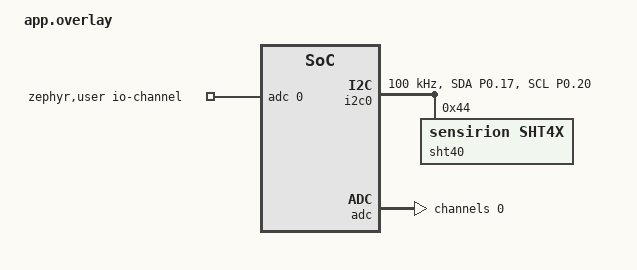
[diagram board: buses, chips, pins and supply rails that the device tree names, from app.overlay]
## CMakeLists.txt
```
cmake_minimum_required(VERSION 3.20.0)

# Tell Zephyr to search for boards in this directory (finds boards/nice_nano)
set(BOARD_ROOT ${CMAKE_CURRENT_SOURCE_DIR})

# Static partition map — tells PM where bootloader/NVRAM/settings live so
# ZBOSS NVRAM is NOT placed inside the Adafruit bootloader region (0xf4000+).
set(PM_STATIC_YML_FILE ${CMAKE_CURRENT_SOURCE_DIR}/pm_static.yml)

find_package(Zephyr REQUIRED HINTS $ENV{ZEPHYR_BASE})
project(nano_temp VERSION 0.1.0)

# Define ZB_ROUTER_ROLE and ZB_BDB_MODE preprocessor macros when CONFIG_ZIGBEE_ROLE_ROUTER=y
# Both are required for ZBOSS to compile router-specific code paths
# ZB_BDB_MODE enables BDB (Base Device Behavior) commissioning mode
if(CONFIG_ZIGBEE_ROLE_ROUTER)
  target_compile_definitions(app PRIVATE ZB_ROUTER_ROLE ZB_BDB_MODE)
endif()

target_sources(app PRIVATE src/main.c)
target_include_directories(app PRIVATE ${CMAKE_CURRENT_SOURCE_DIR})
```

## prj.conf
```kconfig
# ── Zigbee Role Configuration ────────────────────────────────
# Makefile toggles between END_DEVICE (sleepy) and ROUTER (always-on)
# - debug/prod modes: END_DEVICE with sleepy behavior
# - hub mode: ROUTER (repeater, always powered, no sleep)
CONFIG_ZIGBEE=y
CONFIG_ZIGBEE_ROLE_END_DEVICE=y
# CONFIG_ZIGBEE_ROLE_ROUTER=y
# Scan all Zigbee channels so we find the coordinator regardless of
# which channel ZHA is configured on (11-26).
CONFIG_ZIGBEE_CHANNEL_SELECTION_MODE_MULTI=y
CONFIG_ZIGBEE_CHANNEL_MASK=0x07FFF800
# Sleepy behavior (rx-off-when-idle) configured via API for end devices:
#   zigbee_configure_sleepy_behavior(true)  — called before zigbee_enable()
# Long poll interval configured via API after join:
#   zb_zdo_pim_set_long_poll_interval(POLL_INTERVAL_MS)

# Zigbee application utilities (needed for zigbee_configure_sleepy_behavior)
CONFIG_ZIGBEE_APP_UTILS=y
# ZIGBEE_FACTORY_RESET (default y) implies DK_LIBRARY, which tries to init
# Nordic DK LEDs/buttons via GPIO nodes that don't exist on nice!nano → panic.
# Override the imply with an explicit n.
CONFIG_DK_LIBRARY=n
# ZIGBEE_HAVE_SERIAL must stay y — the prebuilt libzboss.a has an unconditional
# hard reference to zb_osif_serial_init which lives in the serial shim.

# ── Logging (USB CDC configured by board defconfig) ──────────
# USB and logging are toggled by Makefile based on DEBUG mode:
#   DEBUG=y  → USB/LOG =y (development, ~3mA on USB)
#   DEBUG=n  → USB/LOG =n (battery production, <1mA)
# Makefile uses sed to toggle between =y and =n to override board defconfig.
CONFIG_USB_DEVICE_STACK=y
CONFIG_LOG=y
CONFIG_LOG_DEFAULT_LEVEL=3
# Use deferred mode to prevent blocking when USB suspends during sleep
CONFIG_LOG_MODE_DEFERRED=y
CONFIG_LOG_BUFFER_SIZE=4096
CONFIG_USB_CDC_ACM_LOG_LEVEL_INF=y
# Disable runtime PM for USB to prevent suspend during sleep
CONFIG_USB_DEVICE_REMOTE_WAKEUP=n
CONFIG_USB_DEVICE_BOS=n
# Enable Zigbee logging to see join status
CONFIG_ZIGBEE_LOGGER_EP_LOG_LEVEL_INF=y
CONFIG_ZIGBEE_APP_UTILS_LOG_LEVEL_INF=y
# ZBOSS trace logging off (saves flash/RAM); ZBOSS assert → reset
CONFIG_ZBOSS_TRACE_LOG_LEVEL_OFF=y
CONFIG_ZBOSS_RESET_ON_ASSERT=y

# ── Crypto — Zigbee AES via nRF52840 hardware ECB peripheral ─
# ECB is a simple register-mapped peripheral — no CC310, no Oberon.
# (DK_LIBRARY=n below removes the DK init crash that originally
#  made us think ECB was the problem.)
CONFIG_CRYPTO=y
CONFIG_CRYPTO_NRF_ECB=y
CONFIG_CRYPTO_INIT_PRIORITY=80

# ── I2C + SHT40 sensor driver ────────────────────────────────
CONFIG_I2C=y
CONFIG_SENSOR=y
CONFIG_SHT4X=y

# ── ADC — VDD battery voltage via SAADC ──────────────────────
CONFIG_ADC=y
CONFIG_ADC_NRFX_SAADC=y

# ── GPIO — VCC / GND power gate for sensor ───────────────────
CONFIG_GPIO=y

# ── Flash / NVS / Settings — Zigbee NVRAM persistence ────────
CONFIG_FLASH=y
CONFIG_FLASH_PAGE_LAYOUT=y
CONFIG_FLASH_MAP=y
CONFIG_NVS=y
CONFIG_SETTINGS=y

# ── Networking — disable IPv6/UDP (Zigbee doesn't use them) ──────────
# CONFIG_ZIGBEE selects NETWORKING, which enables IPv6 by default.
# IPv6 Neighbor Discovery / DAD cooperative threads try to transmit
# over the radio immediately on interface-up, crashing before ZBOSS
# is ready.  The official nRF Connect SDK Zigbee samples all set these.
CONFIG_NET_IPV6=n
CONFIG_NET_IP_ADDR_CHECK=n
CONFIG_NET_UDP=n

# ── 802.15.4 temperature update — disable to avoid assert panic ──
# temperature_update_init (POST_KERNEL 91) calls __ASSERT_NO_MSG(device_is_ready(temp)).
# The nRF5 die temp sensor (temp_nrf5_mpsl_init, priority 90) returns an error,
# leaving the device not-ready, which triggers the assert and panics.
# Disabling this uses a fixed 20°C for radio crystal calibration — fine for a
# Zigbee sensor node that doesn't need perfect RF temperature compensation.
CONFIG_NRF_802154_TEMPERATURE_UPDATE=n

# ── Init priority ordering ────────────────────────────────────────────
#
# Root cause: CONFIG_NET_INIT_PRIO is not user-settable (derives from
# APPLICATION_INIT_PRIORITY=90).  net_core_init at priority 90 creates
# Zephyr network management threads that try to bring up the ieee802154
# interface.  If nrf5_init hasn't run yet the driver is uninitialized
# → hard fault in the NET cooperative thread.
#
# Fix: move nrf5_init to priority 89, one slot before the priority-90
# batch.  The ieee802154 device is fully ready before net_core_init runs.
#
# Final order:
#   89  nrf5_init (IEEE 802.15.4 driver, ready before net_core_init)
#   90  usb_device_init, net_core_init, sensor inits
#   99  nrf_802154_configurator
#
# BUILD_ASSERT in nrf_802154_configurator requires:
#   IEEE802154_NRF5_INIT_PRIO < NRF_802154_RADIO_CONFIG_PRIO (89 < 99 ✓)
CONFIG_IEEE802154_NRF5_INIT_PRIO=89
CONFIG_NRF_802154_RADIO_CONFIG_PRIO=99

# ── Watchdog — survive Adafruit bootloader WDT ───────────────
# The Adafruit UF2 bootloader starts a 1-second hardware WDT before
# jumping to the app.  nRF WDT cannot be stopped once started, so the
# app must feed it.  CONFIG_WDT_NRFX=y gives us nrfx_wdt so we can
# allocate the existing channel and keep feeding it in the app.
# wdt_feed_all() in main.c feeds all active channels via the nRF HAL.
CONFIG_WATCHDOG=y
CONFIG_WDT_NRFX=y

# ── RAM power-down — unused SRAM banks off during sleep ──────────────
# Powers down idle RAM banks to cut sleep current.
# NOTE: power_down_unused_ram() must be called explicitly from main.c
# before zigbee_enable().  This library does NOT auto-call it unless
# CONFIG_RAM_POWER_ADJUST_ON_HEAP_RESIZE=y, which requires newlib.
CONFIG_RAM_POWER_DOWN_LIBRARY=y

# ── Power management ─────────────────────────────────────────────────
# CONFIG_PM=y here enables the nRF Connect Partition Manager (flash
# layout), NOT Zephyr system-level CPU sleep.  On nRF52840 / Zephyr 3.6
# there is no HAS_PM so Zephyr system PM cannot be selected; it is a
# no-op if set.
#
# Deep sleep on nRF52840 works through the idle thread (WFI) combined
# with MPSL automatically releasing the HFCLK between radio operations.
# This is hardware-managed and requires no Zephyr PM layer.
#
# CONFIG_PM_DEVICE=y enables per-driver PM callbacks (e.g. TWIM puts
# SDA/SCL into low-power pinctrl state during sleep).
# LIMITATION: PM_DEVICE suspends USB CDC even with VBUS present, breaking
# serial logging. For USB debugging: keep PM_DEVICE=n (adds ~0.5mA).
# For battery production: set PM_DEVICE=y and disable USB/logging.
CONFIG_PM=y
# CONFIG_PM_DEVICE=y

# ── Stack / heap sizes ────────────────────────────────────────
CONFIG_MAIN_STACK_SIZE=4096
CONFIG_HEAP_MEM_POOL_SIZE=8192
CONFIG_SYSTEM_WORKQUEUE_STACK_SIZE=2048
CONFIG_ZBOSS_DEFAULT_THREAD_STACK_SIZE=4096
```

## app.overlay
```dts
/*
 * nice!nano — application overlay
 *
 * I2C0 (TWIM0):  SDA = P0.17   SCL = P0.20
 * SHT40:         I2C addr 0x44, powered via GPIO (VCC=P0.24, GND=P0.22)
 * ADC channel 0: internal VDD via SAADC (GAIN=1/6, REF=0.6 V, 12-bit)
 */

#include <zephyr/dt-bindings/adc/nrf-adc.h>

/* ── I2C pinctrl ──────────────────────────────────────────────────── */
&pinctrl {
	i2c0_default: i2c0_default {
		group1 {
			psels = <NRF_PSEL(TWIM_SDA, 0, 17)>,
			        <NRF_PSEL(TWIM_SCL, 0, 20)>;
		};
	};

	i2c0_sleep: i2c0_sleep {
		group1 {
			psels = <NRF_PSEL(TWIM_SDA, 0, 17)>,
			        <NRF_PSEL(TWIM_SCL, 0, 20)>;
			low-power-enable;
		};
	};
};

/* ── I2C0 + SHT40 ─────────────────────────────────────────────────── */
&i2c0 {
	status = "okay";
	pinctrl-0 = <&i2c0_default>;
	pinctrl-1 = <&i2c0_sleep>;
	pinctrl-names = "default", "sleep";
	clock-frequency = <I2C_BITRATE_STANDARD>;

	sht40: sht4x@44 {
		compatible = "sensirion,sht4x";
		reg = <0x44>;
		repeatability = <2>;   /* high repeatability */
	};
};

/* ── ADC channel 0: VDD (internal) ───────────────────────────────── */
/ {
	zephyr,user {
		io-channels = <&adc 0>;
	};
};

&adc {
	#address-cells = <1>;
	#size-cells = <0>;

	channel@0 {
		reg = <0>;
		zephyr,gain             = "ADC_GAIN_1_6";
		zephyr,reference        = "ADC_REF_INTERNAL";
		zephyr,acquisition-time = <ADC_ACQ_TIME_DEFAULT>;
		zephyr,input-positive   = <NRF_SAADC_VDD>;
		zephyr,resolution       = <12>;
	};
};
```

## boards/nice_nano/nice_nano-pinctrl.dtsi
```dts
/*
 * SPDX-License-Identifier: Apache-2.0
 * nice!nano pin control — add peripheral pinctrl here as needed
 */

&pinctrl {
	/* Placeholder — I2C and other peripherals configured via app.overlay */
};
```

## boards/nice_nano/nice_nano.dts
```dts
/*
 * SPDX-License-Identifier: Apache-2.0
 * nice!nano (nRF52840) — Chinese clone / keyboard board
 * Adafruit nRF52 UF2 bootloader v0.4.1 (s140_6.1.1)
 * App start: 0x26000  (hardcoded in bootloader for s140 devices)
 */

/dts-v1/;
#include <nordic/nrf52840_qiaa.dtsi>
#include "nice_nano-pinctrl.dtsi"

/ {
	model = "nice!nano";
	compatible = "nicekeyboards,nice-nano";

	chosen {
		zephyr,console      = &usb_cdc_acm_uart;
		zephyr,shell-uart   = &usb_cdc_acm_uart;
		zephyr,sram         = &sram0;
		zephyr,flash        = &flash0;
		zephyr,code-partition = &code_partition;
		zephyr,ieee802154   = &ieee802154;
	};

	leds {
		compatible = "gpio-leds";
		blue_led: led_0 {
			gpios = <&gpio0 15 GPIO_ACTIVE_HIGH>;
			label = "Blue LED";
		};
	};

	aliases {
		led0      = &blue_led;
		watchdog0 = &wdt0;
	};
};

&adc {
	status = "okay";
};

&uicr {
	gpio-as-nreset;
};

&gpiote {
	status = "okay";
};

&gpio0 {
	status = "okay";
};

&gpio1 {
	status = "okay";
};

&ieee802154 {
	status = "okay";
};

&flash0 {
	partitions {
		compatible = "fixed-partitions";
		#address-cells = <1>;
		#size-cells = <1>;

		/* Space reserved for MBR + SoftDevice-compatible region.
		 * Zephyr does not use SoftDevice; this is just reserved
		 * to match the bootloader's hardcoded app start at 0x26000. */
		sd_partition: partition@0 {
			label = "softdevice";
			reg = <0x00000000 0x00026000>;
		};

		code_partition: partition@26000 {
			label = "code_partition";
			reg = <0x00026000 0x000c6000>;
		};

		/* FCB / LittleFS / NVS storage */
		storage_partition: partition@ec000 {
			label = "storage";
			reg = <0x000ec000 0x00008000>;
		};

		/* Adafruit UF2 bootloader */
		boot_partition: partition@f4000 {
			label = "adafruit_boot";
			reg = <0x000f4000 0x0000c000>;
		};
	};
};

zephyr_udc0: &usbd {
	compatible = "nordic,nrf-usbd";
	status = "okay";

	usb_cdc_acm_uart: cdc-acm-uart {
		compatible = "zephyr,cdc-acm-uart";
	};
};
```

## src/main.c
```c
/*
 * nice!nano — Zigbee Temperature / Humidity / Battery Sensor
 * nRF Connect SDK 2.7.0 / ZBOSS
 *
 * Hardware
 *   SHT40  I2C  (SDA=P0.17, SCL=P0.20)
 *          Power gate: VCC=P0.24 (OUTPUT), GND=P0.22 (OUTPUT)
 *   Battery voltage measured via SAADC internal VDD channel
 *
 * Zigbee
 *   ZHA profile (0x0104), Temperature Sensor device ID (0x0302)
 *   Server clusters: Basic | Power Config | Temp Measurement | Rel Humidity
 *   Sleepy End Device, 15-second poll / measurement interval
 */

#include <zephyr/kernel.h>
#include <zephyr/logging/log.h>
#include <zephyr/drivers/sensor.h>
#include <zephyr/drivers/adc.h>
#include <zephyr/drivers/gpio.h>
#include <zephyr/init.h>
#include <hal/nrf_gpio.h>
#include <hal/nrf_wdt.h>
#include <ram_pwrdn.h>

#include "config.h"

/* Feed all active watchdog channels.
 * The Adafruit UF2 bootloader starts a 1-second hardware WDT before
 * jumping to the application.  nRF WDT cannot be stopped once started,
 * so the app must keep feeding it.  Called every 500 ms from a Zephyr
 * timer that continues firing through System-ON deep sleep (RTC-backed). */
static void wdt_feed_all(void)
{
	if (nrf_wdt_started_check(NRF_WDT)) {
		for (int ch = 0; ch < 8; ch++) {
			if (nrf_wdt_reload_request_enable_check(NRF_WDT,
					(nrf_wdt_rr_register_t)ch)) {
				nrf_wdt_reload_request_set(NRF_WDT,
					(nrf_wdt_rr_register_t)ch);
			}
		}
	}
}

/* ── Sensor power pins ───────────────────────────────────────────── */

#define SHT40_VCC_PIN  24   /* P0.24 → sensor VCC */
#define SHT40_GND_PIN  22   /* P0.22 → sensor GND */
#define LED_PIN        15   /* P0.15 → blue LED (active HIGH) */

/* Power up the SHT40 before sht4x_init (POST_KERNEL 90) runs.
 * The driver sends a soft-reset over I2C during init; if VCC is low the
 * sensor has no power and the I2C transaction fails, leaving the device
 * not-ready.  Raw nrf_gpio HAL so this works before the GPIO driver is
 * fully configured by Zephyr. */
static int sht40_power_on(void)
{
	nrf_gpio_cfg_output(NRF_GPIO_PIN_MAP(0, SHT40_VCC_PIN));
	nrf_gpio_pin_set(NRF_GPIO_PIN_MAP(0, SHT40_VCC_PIN));    /* VCC HIGH */
	nrf_gpio_cfg_output(NRF_GPIO_PIN_MAP(0, SHT40_GND_PIN));
	nrf_gpio_pin_clear(NRF_GPIO_PIN_MAP(0, SHT40_GND_PIN));  /* GND LOW */
	k_busy_wait(SENSOR_POWERUP_DELAY_MS * 1000);   /* SHT40 power-on time */
	return 0;
}
SYS_INIT(sht40_power_on, POST_KERNEL, 85);

/* ── ZBOSS / Zigbee ──────────────────────────────────────────────── */

#include <zboss_api.h>
#include <zboss_api_addons.h>
#include <zboss_api_zdo.h>
#include <zb_mem_config_med.h>
#include <zigbee/zigbee_app_utils.h>
#include <zigbee/zigbee_error_handler.h>
#include <zb_nrf_platform.h>        /* zigbee_enable() */

/* zb_bdb_reset_via_local_action is exported from the prebuilt libzboss.a
 * but not declared in any public header in NCS 2.7.  It is used the same
 * way inside zigbee_app_utils.c (the NCS factory-reset implementation). */
extern void zb_bdb_reset_via_local_action(zb_uint8_t param);

/* ZCL cluster headers */
#include <zcl/zb_zcl_basic.h>
#include <zcl/zb_zcl_power_config.h>
#include <zcl/zb_zcl_temp_measurement.h>
#include <zcl/zb_zcl_rel_humidity_measurement.h>

LOG_MODULE_REGISTER(sensor_app, LOG_LEVEL_INF);

/* ── Device tree handles ─────────────────────────────────────────── */

#define SHT40_NODE DT_NODELABEL(sht40)
#define GPIO0_NODE DT_NODELABEL(gpio0)

static const struct device *sht40_dev = DEVICE_DT_GET(SHT40_NODE);
static const struct device *gpio0_dev = DEVICE_DT_GET(GPIO0_NODE);

static const struct adc_dt_spec adc_vdd =
	ADC_DT_SPEC_GET_BY_IDX(DT_PATH(zephyr_user), 0);

/* ── Zigbee endpoint config ──────────────────────────────────────── */

#define SENSOR_ENDPOINT          1
#define SENSOR_IN_CLUSTER_COUNT  4
#define SENSOR_OUT_CLUSTER_COUNT 0
#define SENSOR_REPORT_COUNT      4   /* temp + humidity + batt % + batt voltage */

/* Device ID: Temperature Sensor for both end device and router.
 * A router can have application endpoints - it doesn't need to be
 * a pure Range Extender (0x0008). Using 0x0302 allows the router
 * to both route traffic AND report sensor data. */
#define SENSOR_DEVICE_ID  0x0302u  /* ZB_HA_TEMPERATURE_SENSOR_DEVICE_ID */

/* Measurement and poll intervals now configured in config.h */
#define MEAS_INTERVAL_TICKS      ZB_MILLISECONDS_TO_BEACON_INTERVAL(MEASUREMENT_INTERVAL_MS)

/* ── ZCL attribute storage ───────────────────────────────────────── */

/* Basic cluster */
static zb_uint8_t attr_zcl_version    = ZB_ZCL_VERSION;
static zb_uint8_t attr_power_source   = ZB_ZCL_BASIC_POWER_SOURCE_BATTERY;
static char       attr_manufacturer[] = DEVICE_MANUFACTURER;
static char       attr_model[]        = DEVICE_MODEL;

/* Power Config cluster
 *   voltage    : 100 mV units  (30 → 3.0 V)
 *   percentage : 0.5 % units   (200 → 100 %)
 */
static zb_uint8_t attr_batt_voltage    = 30;
static zb_uint8_t attr_batt_percentage = 200;

/* Temperature Measurement cluster  (0.01 °C units, sint16) */
static zb_int16_t  attr_temp_value     = ZB_ZCL_ATTR_TEMP_MEASUREMENT_VALUE_UNKNOWN;
static zb_int16_t  attr_temp_min_value = -4000;
static zb_int16_t  attr_temp_max_value =  8500;
static zb_uint16_t attr_temp_tolerance =     0;

/* Relative Humidity Measurement cluster  (0.01 % units, uint16) */
static zb_uint16_t attr_hum_value     = 0;
static zb_uint16_t attr_hum_min_value = 0;
static zb_uint16_t attr_hum_max_value = 10000;

/* ── Attribute lists ─────────────────────────────────────────────── */

ZB_ZCL_START_DECLARE_ATTRIB_LIST_CLUSTER_REVISION(basic_attr_list, ZB_ZCL_BASIC)
ZB_ZCL_SET_ATTR_DESC(ZB_ZCL_ATTR_BASIC_ZCL_VERSION_ID,        &attr_zcl_version)
ZB_ZCL_SET_ATTR_DESC(ZB_ZCL_ATTR_BASIC_MANUFACTURER_NAME_ID,   attr_manufacturer)
ZB_ZCL_SET_ATTR_DESC(ZB_ZCL_ATTR_BASIC_MODEL_IDENTIFIER_ID,    attr_model)
ZB_ZCL_SET_ATTR_DESC(ZB_ZCL_ATTR_BASIC_POWER_SOURCE_ID,       &attr_power_source)
ZB_ZCL_FINISH_DECLARE_ATTRIB_LIST;

ZB_ZCL_START_DECLARE_ATTRIB_LIST_CLUSTER_REVISION(power_config_attr_list,
						   ZB_ZCL_POWER_CONFIG)
ZB_ZCL_SET_ATTR_DESC_M(ZB_ZCL_ATTR_POWER_CONFIG_BATTERY_VOLTAGE_ID,
			&attr_batt_voltage,
			ZB_ZCL_ATTR_TYPE_U8,
			ZB_ZCL_ATTR_ACCESS_READ_ONLY | ZB_ZCL_ATTR_ACCESS_REPORTING)
ZB_ZCL_SET_ATTR_DESC_M(ZB_ZCL_ATTR_POWER_CONFIG_BATTERY_PERCENTAGE_REMAINING_ID,
			&attr_batt_percentage,
			ZB_ZCL_ATTR_TYPE_U8,
			ZB_ZCL_ATTR_ACCESS_READ_ONLY | ZB_ZCL_ATTR_ACCESS_REPORTING)
ZB_ZCL_FINISH_DECLARE_ATTRIB_LIST;

ZB_ZCL_DECLARE_TEMP_MEASUREMENT_ATTRIB_LIST(temp_attr_list,
	&attr_temp_value,
	&attr_temp_min_value,
	&attr_temp_max_value,
	&attr_temp_tolerance);

ZB_ZCL_DECLARE_REL_HUMIDITY_MEASUREMENT_ATTRIB_LIST(hum_attr_list,
	&attr_hum_value,
	&attr_hum_min_value,
	&attr_hum_max_value);

/* ── Cluster list ────────────────────────────────────────────────── */

/* ZB_DECLARE_SIMPLE_DESC uses ## so macros would NOT be expanded — use literals. */
ZB_DECLARE_SIMPLE_DESC(4, 0);

static zb_zcl_cluster_desc_t sensor_clusters[] = {
	ZB_ZCL_CLUSTER_DESC(
		ZB_ZCL_CLUSTER_ID_BASIC,
		ZB_ZCL_ARRAY_SIZE(basic_attr_list, zb_zcl_attr_t),
		(zb_zcl_attr_t *)basic_attr_list,
		ZB_ZCL_CLUSTER_SERVER_ROLE,
		ZB_ZCL_MANUF_CODE_INVALID),
	ZB_ZCL_CLUSTER_DESC(
		ZB_ZCL_CLUSTER_ID_POWER_CONFIG,
		ZB_ZCL_ARRAY_SIZE(power_config_attr_list, zb_zcl_attr_t),
		(zb_zcl_attr_t *)power_config_attr_list,
		ZB_ZCL_CLUSTER_SERVER_ROLE,
		ZB_ZCL_MANUF_CODE_INVALID),
	ZB_ZCL_CLUSTER_DESC(
		ZB_ZCL_CLUSTER_ID_TEMP_MEASUREMENT,
		ZB_ZCL_ARRAY_SIZE(temp_attr_list, zb_zcl_attr_t),
		(zb_zcl_attr_t *)temp_attr_list,
		ZB_ZCL_CLUSTER_SERVER_ROLE,
		ZB_ZCL_MANUF_CODE_INVALID),
	ZB_ZCL_CLUSTER_DESC(
		ZB_ZCL_CLUSTER_ID_REL_HUMIDITY_MEASUREMENT,
		ZB_ZCL_ARRAY_SIZE(hum_attr_list, zb_zcl_attr_t),
		(zb_zcl_attr_t *)hum_attr_list,
		ZB_ZCL_CLUSTER_SERVER_ROLE,
		ZB_ZCL_MANUF_CODE_INVALID),
};

/* ── Simple descriptor ───────────────────────────────────────────── */

ZB_AF_SIMPLE_DESC_TYPE(SENSOR_IN_CLUSTER_COUNT, SENSOR_OUT_CLUSTER_COUNT)
	sensor_simple_desc = {
	SENSOR_ENDPOINT,
	ZB_AF_HA_PROFILE_ID,
	SENSOR_DEVICE_ID,
	0,   /* device version */
	0,   /* reserved */
	SENSOR_IN_CLUSTER_COUNT,
	SENSOR_OUT_CLUSTER_COUNT,
	{
		ZB_ZCL_CLUSTER_ID_BASIC,
		ZB_ZCL_CLUSTER_ID_POWER_CONFIG,
		ZB_ZCL_CLUSTER_ID_TEMP_MEASUREMENT,
		ZB_ZCL_CLUSTER_ID_REL_HUMIDITY_MEASUREMENT,
	}
};

/* ── Reporting context + endpoint ────────────────────────────────── */

static zb_zcl_reporting_info_t sensor_report_ctx[SENSOR_REPORT_COUNT];

ZB_AF_DECLARE_ENDPOINT_DESC(sensor_ep,
	SENSOR_ENDPOINT,
	ZB_AF_HA_PROFILE_ID,
	0,
	NULL,
	ZB_ZCL_ARRAY_SIZE(sensor_clusters, zb_zcl_cluster_desc_t),
	sensor_clusters,
	(zb_af_simple_desc_1_1_t *)&sensor_simple_desc,
	SENSOR_REPORT_COUNT, sensor_report_ctx,
	0, NULL);

ZBOSS_DECLARE_DEVICE_CTX_1_EP(sensor_device_ctx, sensor_ep);

/* ── ADC state ───────────────────────────────────────────────────── */

static int16_t           adc_raw_val;
static struct adc_sequence adc_seq = {
	.buffer      = &adc_raw_val,
	.buffer_size = sizeof(adc_raw_val),
};

/* ── Forward declarations ────────────────────────────────────────── */
static void measure_and_report(zb_uint8_t param);
static void restore_long_poll(zb_uint8_t param);
static void on_network_joined(void);

/* ── Post-join interview window ──────────────────────────────────── */

/* After joining, poll every 2 s for 5 min so ZHA can complete its
 * attribute interview, then restore the normal sleep cycle.
 * 5 minutes is needed because ZHA sends configure-reporting frames for
 * every reportable attribute; at 60 s long poll each frame takes up to
 * 60 s to deliver, so 4 attributes × 60 s = 4 min minimum.  Using 300 s
 * gives margin for slow coordinators / congested networks. */
static void on_network_joined(void)
{
#ifdef CONFIG_ZIGBEE_ROLE_END_DEVICE
	/* End device: set up interview window with fast polling */
	zb_zdo_pim_set_long_poll_interval(2000);
	ZB_SCHEDULE_APP_ALARM_CANCEL(restore_long_poll, ZB_ALARM_ANY_PARAM);
	ZB_SCHEDULE_APP_ALARM(restore_long_poll, 0,
			      ZB_MILLISECONDS_TO_BEACON_INTERVAL(300000));
#endif
	/* Schedule first measurement for both end device and router */
	ZB_SCHEDULE_APP_ALARM_CANCEL(measure_and_report, ZB_ALARM_ANY_PARAM);
	ZB_SCHEDULE_APP_ALARM(measure_and_report, 0,
			      ZB_MILLISECONDS_TO_BEACON_INTERVAL(500));
}

static void restore_long_poll(zb_uint8_t param)
{
	ARG_UNUSED(param);
	zb_zdo_pim_set_long_poll_interval(POLL_INTERVAL_MS);
	LOG_INF("Interview window closed — poll interval %d s",
		POLL_INTERVAL_MS / 1000);
}

/* ── Battery measurement ─────────────────────────────────────────── */

static void update_battery(void)
{
	int err = adc_read(adc_vdd.dev, &adc_seq);

	if (err) {
		LOG_WRN("ADC read error: %d", err);
		return;
	}

	int32_t mv = adc_raw_val;

	adc_raw_to_millivolts_dt(&adc_vdd, &mv);
	LOG_INF("VDD: %d mV", (int)mv);

	/* ZCL battery voltage: 100 mV units */
	zb_uint8_t zcl_voltage = (zb_uint8_t)(mv / 100);

	/* ZCL BatteryPercentageRemaining: 0.5 % units (0–200).
	 * Linear approximation using config.h thresholds */
	int32_t pct = ((mv - BATTERY_VOLTAGE_MIN_MV) * 200) / 
	              (BATTERY_VOLTAGE_MAX_MV - BATTERY_VOLTAGE_MIN_MV);

	if (pct < 0) {
		pct = 0;
	} else if (pct > 200) {
		pct = 200;
	}

	zb_uint8_t zcl_percentage = (zb_uint8_t)pct;

	ZB_ZCL_SET_ATTRIBUTE(SENSOR_ENDPOINT,
		ZB_ZCL_CLUSTER_ID_POWER_CONFIG,
		ZB_ZCL_CLUSTER_SERVER_ROLE,
		ZB_ZCL_ATTR_POWER_CONFIG_BATTERY_VOLTAGE_ID,
		&zcl_voltage, ZB_FALSE);

	ZB_ZCL_SET_ATTRIBUTE(SENSOR_ENDPOINT,
		ZB_ZCL_CLUSTER_ID_POWER_CONFIG,
		ZB_ZCL_CLUSTER_SERVER_ROLE,
		ZB_ZCL_ATTR_POWER_CONFIG_BATTERY_PERCENTAGE_REMAINING_ID,
		&zcl_percentage, ZB_FALSE);
}

/* ── LED heartbeat ───────────────────────────────────────────────── */

/* Brief blink on the blue LED — used to show the device is alive while
 * running on battery with USB/logging disabled.  Two quick flashes per
 * measurement cycle = "woke up, read sensor, sent Zigbee report". */
static void led_blink(int count)
{
	for (int i = 0; i < count; i++) {
		gpio_pin_set(gpio0_dev, LED_PIN, 1);
		k_sleep(K_MSEC(30));
		gpio_pin_set(gpio0_dev, LED_PIN, 0);
		if (i < count - 1) {
			k_sleep(K_MSEC(120));
		}
	}
}

/* ── Measurement + report (ZBOSS scheduler callback) ─────────────── */

static void measure_and_report(zb_uint8_t param)
{
	ARG_UNUSED(param);

	/* Power up the SHT40 */
	gpio_pin_set(gpio0_dev, SHT40_VCC_PIN, 1);
	gpio_pin_set(gpio0_dev, SHT40_GND_PIN, 0);
	k_sleep(K_MSEC(10));   /* SHT40 power-on time */

	/* Read sensor */
	int err = sensor_sample_fetch(sht40_dev);

	if (err) {
		LOG_ERR("SHT40 fetch error: %d", err);
	} else {
		struct sensor_value temp_sv, hum_sv;

		sensor_channel_get(sht40_dev, SENSOR_CHAN_AMBIENT_TEMP, &temp_sv);
		sensor_channel_get(sht40_dev, SENSOR_CHAN_HUMIDITY,     &hum_sv);

		/* Convert to ZCL units (0.01 per unit) */
		zb_int16_t zcl_temp =
			(zb_int16_t)(temp_sv.val1 * 100 + temp_sv.val2 / 10000);
		zb_uint16_t zcl_hum =
			(zb_uint16_t)(hum_sv.val1 * 100 + hum_sv.val2 / 10000);

		LOG_INF("Temp: %d.%02d °C   Hum: %d.%02d %%",
			temp_sv.val1, abs(temp_sv.val2 / 10000),
			hum_sv.val1,  hum_sv.val2 / 10000);

		ZB_ZCL_SET_ATTRIBUTE(SENSOR_ENDPOINT,
			ZB_ZCL_CLUSTER_ID_TEMP_MEASUREMENT,
			ZB_ZCL_CLUSTER_SERVER_ROLE,
			ZB_ZCL_ATTR_TEMP_MEASUREMENT_VALUE_ID,
			(zb_uint8_t *)&zcl_temp, ZB_FALSE);

		ZB_ZCL_SET_ATTRIBUTE(SENSOR_ENDPOINT,
			ZB_ZCL_CLUSTER_ID_REL_HUMIDITY_MEASUREMENT,
			ZB_ZCL_CLUSTER_SERVER_ROLE,
			ZB_ZCL_ATTR_REL_HUMIDITY_MEASUREMENT_VALUE_ID,
			(zb_uint8_t *)&zcl_hum, ZB_FALSE);

		/* Two quick blinks = alive + reported */
		led_blink(2);
	}

	/* Power down the SHT40 */
	gpio_pin_set(gpio0_dev, SHT40_VCC_PIN, 0);
	gpio_pin_set(gpio0_dev, SHT40_GND_PIN, 0);

	/* Battery telemetry */
	update_battery();

	/* Schedule next measurement */
	ZB_SCHEDULE_APP_ALARM(measure_and_report, 0, MEAS_INTERVAL_TICKS);
}

/* ── ZBOSS signal handler ────────────────────────────────────────── */

void zboss_signal_handler(zb_bufid_t bufid)
{
#ifdef CONFIG_ZIGBEE_ROLE_ROUTER
	/* Router mode: handle permit join signal, otherwise use default handler */
	zb_zdo_app_signal_hdr_t  *hdr = NULL;
	zb_zdo_app_signal_type_t  sig = zb_get_app_signal(bufid, &hdr);
	zb_ret_t status = ZB_GET_APP_SIGNAL_STATUS(bufid);
	
	switch (sig) {
	case ZB_NWK_SIGNAL_PERMIT_JOIN_STATUS:
		/* Router received permit join status - just log it */
		LOG_INF("Permit join status signal received");
		break;
		
	case ZB_BDB_SIGNAL_STEERING:
		if (status == RET_OK) {
			LOG_INF("Router joined - starting measurements");
			ZB_SCHEDULE_APP_ALARM_CANCEL(measure_and_report, ZB_ALARM_ANY_PARAM);
			ZB_SCHEDULE_APP_ALARM(measure_and_report, 0,
					      ZB_MILLISECONDS_TO_BEACON_INTERVAL(5000));
		}
		break;
		
	default:
		break;
	}
	
	ZB_ERROR_CHECK(zigbee_default_signal_handler(bufid));
	
	if (bufid) {
		zb_buf_free(bufid);
	}
#else
	/* End device mode: custom signal handling for sleepy behavior */
	zb_zdo_app_signal_hdr_t  *hdr    = NULL;
	zb_zdo_app_signal_type_t  sig    = zb_get_app_signal(bufid, &hdr);
	zb_ret_t                  status = ZB_GET_APP_SIGNAL_STATUS(bufid);

	switch (sig) {
	case ZB_BDB_SIGNAL_DEVICE_FIRST_START:
		LOG_INF("First start — beginning network steering");
		break;

	case ZB_BDB_SIGNAL_DEVICE_REBOOT:
		if (status == RET_OK) {
			zb_zdo_pim_permit_turbo_poll(0);
			LOG_INF("Rejoined network — opening 300 s interview window");
			on_network_joined();
		} else {
			LOG_WRN("Rejoin failed — retrying for up to ~200 s, then sleeping");
		}
		break;

	case ZB_BDB_SIGNAL_STEERING:
		if (status == RET_OK) {
			zb_zdo_pim_permit_turbo_poll(0);
			LOG_INF("Network steering OK — starting interview window");
			on_network_joined();
		} else {
			LOG_WRN("Steering attempt failed — will retry");
		}
		break;

	case ZB_COMMON_SIGNAL_CAN_SLEEP:
#ifdef CONFIG_USB_DEVICE_STACK
		if ((NRF_POWER->USBREGSTATUS & POWER_USBREGSTATUS_VBUSDETECT_Msk) != 0) {
			if (bufid) {
				zb_buf_free(bufid);
			}
			return;
		}
#endif
		break;

	case ZB_ZDO_SIGNAL_LEAVE:
		LOG_INF("Left Zigbee network");
		ZB_SCHEDULE_APP_ALARM_CANCEL(measure_and_report, ZB_ALARM_ANY_PARAM);
		break;

	default:
		break;
	}

	zigbee_default_signal_handler(bufid);
	
	if (bufid) {
		zb_buf_free(bufid);
	}
#endif
}

/* ── WDT keepalive ───────────────────────────────────────────────── */

/* Feeds the bootloader WDT every 500 ms.  Zephyr kernel timers are
 * backed by the RTC and continue firing through System-ON deep sleep,
 * so this works correctly even when the CPU is sleeping between polls. */
static void wdt_keepalive_cb(struct k_timer *t)
{
	ARG_UNUSED(t);
	wdt_feed_all();
}
static K_TIMER_DEFINE(wdt_keepalive_timer, wdt_keepalive_cb, NULL);

/* ── main ────────────────────────────────────────────────────────── */

int main(void)
{
	int err;

	/* Start WDT keepalive immediately — must feed within 1 s of boot */
	k_timer_start(&wdt_keepalive_timer, K_MSEC(WATCHDOG_FEED_INTERVAL_MS), 
	              K_MSEC(WATCHDOG_FEED_INTERVAL_MS));

	/* Check if USB is connected (VBUS present).
	 * On nRF52840, VBUS detection is via USBREGSTATUS register.
	 * If USB is connected: wait for CDC enumeration so logs are captured.
	 * If USB is NOT connected: skip USB init, logging will be minimal/disabled,
	 * and PM can enter deep sleep immediately for <1mA battery operation. */
	bool usb_connected = (NRF_POWER->USBREGSTATUS & POWER_USBREGSTATUS_VBUSDETECT_Msk) != 0;
	
	if (usb_connected) {
		/* USB connected: wait for CDC enumeration */
		k_sleep(K_MSEC(500));
		LOG_INF("Sensor app starting (interval %d s) [USB mode]", MEASUREMENT_INTERVAL_MS / 1000);
	} else {
		/* Battery mode: minimal delay, logging will be limited */
		k_sleep(K_MSEC(50));
		LOG_INF("Sensor app starting (interval %d s) [Battery mode]", MEASUREMENT_INTERVAL_MS / 1000);
	}

	/* ── Verify devices are ready ── */
	if (!device_is_ready(sht40_dev)) {
		LOG_ERR("SHT40 not ready — check I2C wiring");
		return -ENODEV;
	}
	if (!device_is_ready(gpio0_dev)) {
		LOG_ERR("GPIO0 not ready");
		return -ENODEV;
	}
	if (!adc_is_ready_dt(&adc_vdd)) {
		LOG_ERR("ADC not ready");
		return -ENODEV;
	}

	/* ── GPIO: sensor power pins (both off initially) ── */
	err = gpio_pin_configure(gpio0_dev, SHT40_VCC_PIN,
				 GPIO_OUTPUT_INACTIVE);
	if (err) {
		LOG_ERR("VCC pin configure: %d", err);
		return err;
	}
	err = gpio_pin_configure(gpio0_dev, SHT40_GND_PIN,
				 GPIO_OUTPUT_INACTIVE);
	if (err) {
		LOG_ERR("GND pin configure: %d", err);
		return err;
	}
	err = gpio_pin_configure(gpio0_dev, LED_PIN, GPIO_OUTPUT_INACTIVE);
	if (err) {
		LOG_ERR("LED pin configure: %d", err);
		return err;
	}

	/* ── ADC: configure the VDD channel ── */
	err = adc_channel_setup_dt(&adc_vdd);
	if (err) {
		LOG_ERR("ADC channel setup: %d", err);
		return err;
	}
	adc_sequence_init_dt(&adc_vdd, &adc_seq);

	/* ── Initial battery reading before Zigbee starts ── */
	/* This ensures the battery voltage attribute has a real value
	 * when ZHA queries it during the initial interview window. */
	update_battery();

	/* ── Zigbee: register endpoint and start stack ── */
	ZB_AF_REGISTER_DEVICE_CTX(&sensor_device_ctx);

	/* Power down idle SRAM banks before enabling the radio.
	 * Must be called explicitly — the library does not auto-call this
	 * unless CONFIG_RAM_POWER_ADJUST_ON_HEAP_RESIZE=y (requires newlib). */
	power_down_unused_ram();

#ifdef CONFIG_ZIGBEE_ROLE_END_DEVICE
	/* Enable sleepy end device behavior (radio off between polls).
	 * Must be called before zigbee_enable().
	 * Routers are always powered and never sleep. */
	zigbee_configure_sleepy_behavior(true);
	LOG_INF("Zigbee: sleepy end device mode");
#else
	/* Router mode: explicitly set rx-on-when-idle to ensure router behavior.
	 * This prevents the device from entering sleepy end device mode. */
	zb_set_rx_on_when_idle(ZB_TRUE);
	LOG_INF("Zigbee: router mode (always powered, rx-on-when-idle)");
#endif

	/* Erase NVRAM if configured in config.h (for initial pairing/testing)
	 * Set ERASE_PERSISTENT_STORAGE=0 in config.h for normal operation */
#if ERASE_PERSISTENT_STORAGE
	zigbee_erase_persistent_storage(ZB_TRUE);
#endif
	zigbee_enable();

	return 0;
}
```
